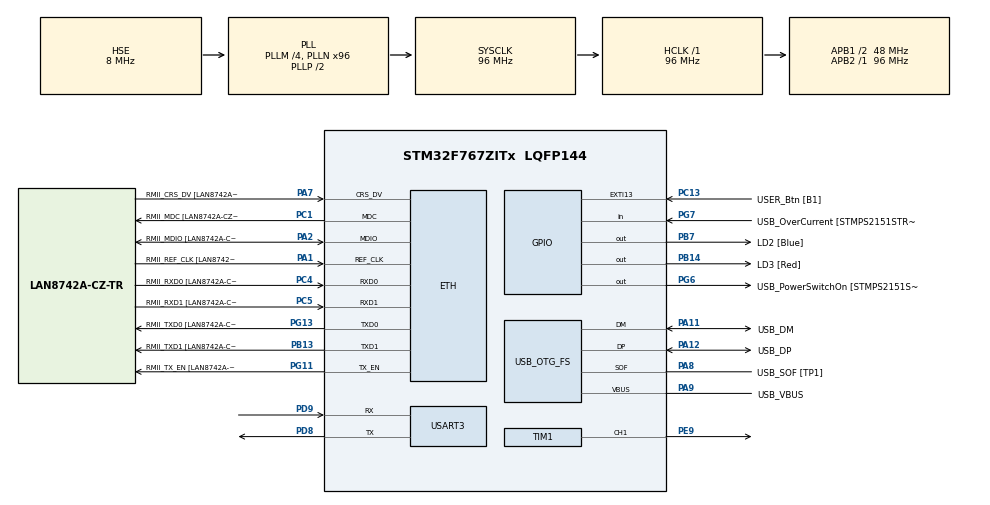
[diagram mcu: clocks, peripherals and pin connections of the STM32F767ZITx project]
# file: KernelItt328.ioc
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ETH.MediaInterface=ETH_MEDIA_INTERFACE_RMII
ETH.PHY_Name=LAN8742A_PHY_ADDRESS
ETH.PHY_Value=0
ETH.PhyAddress=0
Mcu.Family=STM32F7
Mcu.Name=STM32F767ZITx
Mcu.Package=LQFP144
NVIC.PriorityGroup=NVIC_PRIORITYGROUP_4
NVIC.USART3_IRQn=true\:0\:0\:false\:false\:true\:true\:true
PA1.GPIO_Label=RMII_REF_CLK [LAN8742A-CZ-TR_REFCLK0]
PA1.Mode=RMII
PA1.Signal=ETH_REF_CLK
PA10.GPIO_Label=USB_ID
PA10.Signal=USB_OTG_FS_ID
PA11.GPIO_Label=USB_DM
PA11.Mode=Device_Only
PA11.Signal=USB_OTG_FS_DM
PA12.GPIO_Label=USB_DP
PA12.Mode=Device_Only
PA12.Signal=USB_OTG_FS_DP
PA13.GPIO_Label=TMS
PA13.Mode=Serial_Wire
PA13.Signal=SYS_JTMS-SWDIO
PA14.GPIO_Label=TCK
PA14.Mode=Serial_Wire
PA14.Signal=SYS_JTCK-SWCLK
PA2.GPIO_Label=RMII_MDIO [LAN8742A-CZ-TR_MDIO]
PA2.Mode=RMII
PA2.Signal=ETH_MDIO
PA7.GPIO_Label=RMII_CRS_DV [LAN8742A-CZ-TR_CRS_DV]
PA7.Mode=RMII
PA7.Signal=ETH_CRS_DV
PA8.GPIO_Label=USB_SOF [TP1]
PA8.Mode=Activate_SOF_FS
PA8.Signal=USB_OTG_FS_SOF
PA9.GPIO_Label=USB_VBUS
PA9.Mode=Activate_VBUS
PA9.Signal=USB_OTG_FS_VBUS
PB13.GPIO_Label=RMII_TXD1 [LAN8742A-CZ-TR_TXD1]
PB13.Mode=RMII
PB13.Signal=ETH_TXD1
PB14.GPIO_Label=LD3 [Red]
PB14.Signal=GPIO_Output
PB3.GPIO_Label=SWO
PB3.Signal=SYS_JTDO-SWO
PB7.GPIO_Label=LD2 [Blue]
PB7.Signal=GPIO_Output
PC1.GPIO_Label=RMII_MDC [LAN8742A-CZ-TR_MDC]
PC1.Mode=RMII
PC1.Signal=ETH_MDC
PC13.GPIO_Label=USER_Btn [B1]
PC13.Signal=GPXTI13
PC14/OSC32_IN.Mode=LSE-External-Oscillator
PC14/OSC32_IN.Signal=RCC_OSC32_IN
PC15/OSC32_OUT.Mode=LSE-External-Oscillator
PC15/OSC32_OUT.Signal=RCC_OSC32_OUT
PC4.GPIO_Label=RMII_RXD0 [LAN8742A-CZ-TR_RXD0]
PC4.Mode=RMII
PC4.Signal=ETH_RXD0
PC5.GPIO_Label=RMII_RXD1 [LAN8742A-CZ-TR_RXD1]
PC5.Mode=RMII
PC5.Signal=ETH_RXD1
PD8.Mode=Asynchronous
PD8.Signal=USART3_TX
PD9.Mode=Asynchronous
PD9.Signal=USART3_RX
PE9.Signal=S_TIM1_CH1
PG11.GPIO_Label=RMII_TX_EN [LAN8742A-CZ-TR_TXEN]
PG11.Mode=RMII
PG11.Signal=ETH_TX_EN
PG13.GPIO_Label=RMII_TXD0 [LAN8742A-CZ-TR_TXD0]
PG13.Mode=RMII
PG13.Signal=ETH_TXD0
PG6.GPIO_Label=USB_PowerSwitchOn [STMPS2151STR_EN]
PG6.Signal=GPIO_Output
PG7.GPIO_Label=USB_OverCurrent [STMPS2151STR_FAULT]
PG7.Signal=GPIO_Input
PH0/OSC_IN.GPIO_Label=MCO [STM32F103CBT6_PA8]
PH0/OSC_IN.Mode=HSE-External-Clock-Source
PH0/OSC_IN.Signal=RCC_OSC_IN
PH1/OSC_OUT.Mode=HSE-External-Clock-Source
PH1/OSC_OUT.Signal=RCC_OSC_OUT
ProjectManager.HeapSize=0x200
ProjectManager.StackSize=0x400
ProjectManager.TargetToolchain=STM32CubeIDE
RCC.48MHZClocksFreq_Value=24000000
RCC.AHBFreq_Value=96000000
RCC.APB1CLKDivider=RCC_HCLK_DIV2
RCC.APB1Freq_Value=48000000
RCC.APB1TimFreq_Value=96000000
RCC.APB2Freq_Value=96000000
RCC.APB2TimFreq_Value=96000000
RCC.CortexFreq_Value=96000000
RCC.HCLKFreq_Value=96000000
RCC.HSE_VALUE=8000000
RCC.HSI_VALUE=16000000
RCC.PLLM=4
RCC.PLLMUL=RCC_PLL_MUL9
RCC.PLLN=96
RCC.PLLQ=4
RCC.PRESCALERUSB=RCC_USBCLKSOURCE_PLL_DIV1_5
RCC.SYSCLKFreq_VALUE=96000000
RCC.SYSCLKSource=RCC_SYSCLKSOURCE_PLLCLK
RCC.SYSCLKSourceVirtual=RCC_SYSCLKSOURCE_PLLCLK
RCC.USBFreq_Value=48000000
RCC.VCOOutputFreq_Value=192000000
SH.S_TIM1_CH1.0=TIM1_CH1,PWM Generation1 CH1
TIM1.Channel-PWM\ Generation1\ CH1=TIM_CHANNEL_1
TIM1.Period=1000
TIM1.Prescaler=96000
USART3.VirtualMode-Asynchronous=VM_ASYNC
USB_OTG_FS.VirtualMode=Device_Only
VP_TIM1_VS_ClockSourceINT.Mode=Internal
board=NUCLEO-F767ZI

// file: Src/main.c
/* USER CODE BEGIN Header */
/**
  ******************************************************************************
  * @file           : main.c
  * @brief          : Main program body
  ******************************************************************************
  * @attention
  *
  * <h2><center>&copy; Copyright (c) 2019 STMicroelectronics.
  * All rights reserved.</center></h2>
  *
  * This software component is licensed by ST under BSD 3-Clause license,
  * the "License"; You may not use this file except in compliance with the
  * License. You may obtain a copy of the License at:
  *                        opensource.org/licenses/BSD-3-Clause
  *
  ******************************************************************************
  */
/* USER CODE END Header */

#include "main.h"
#include "eth.h"
#include "tim.h"
#include "usart.h"
#include "usb_otg.h"
#include "gpio.h"
#include "pcb.h"

/* USER CODE BEGIN Includes */
void InitConsola();
int Leer(int a,char* b,int t);
int Escribir(int a,char* b,int t);
/* USER CODE END Includes */

void SystemClock_Config(void);

/* USER CODE BEGIN 0 */
sem_t mutex;
/* USER CODE END 0 */

int main(void)
{

  /* MCU Configuration--------------------------------------------------------*/

  /* Reset of all peripherals, Initializes the Flash interface and the Systick. */
  HAL_Init();

  /* Configure the system clock */
  SystemClock_Config();

  /* Initialize all configured peripherals */
  MX_GPIO_Init();
  MX_ETH_Init();
  MX_USB_OTG_FS_PCD_Init();
  MX_USART3_UART_Init();
  MX_TIM1_Init();
  SysTick_Config(SystemCoreClock * 0.1);
  InitConsola();

  /* Infinite loop */
  /* USER CODE BEGIN WHILE */
  int child;
  sem_init(&mutex, 1);
   while (1) {
     /* USER CODE END WHILE */

     /* USER CODE BEGIN 3 */
 	child = fork();
 	if (child == 0) {
 		for (;;) {
 			LD2_GPIO_Port->BSRR = LD2_Pin;
 			LD3_GPIO_Port->BSRR = (uint32_t)LD3_Pin << 16;
 			sem_wait(&mutex);
 			Escribir(1, "Proceso 2\n\r", 11);
 			sem_post(&mutex);
 		}
 	} else {
 		for (;;) {
 			LD2_GPIO_Port->BSRR = (uint32_t)LD2_Pin << 16;
 			LD3_GPIO_Port->BSRR = LD3_Pin;
 			sem_wait(&mutex);
 			Escribir(1, "Proceso 1\n\r", 11);
 			sem_post(&mutex);
 		}
 	}
   }
  /* USER CODE END 3 */
}

void SystemClock_Config(void)
{
  RCC_OscInitTypeDef RCC_OscInitStruct = {0};
  RCC_ClkInitTypeDef RCC_ClkInitStruct = {0};
  RCC_PeriphCLKInitTypeDef PeriphClkInitStruct = {0};

  /** Configure LSE Drive Capability
  */
  HAL_PWR_EnableBkUpAccess();
  /** Configure the main internal regulator output voltage
  */
  __HAL_RCC_PWR_CLK_ENABLE();
  __HAL_PWR_VOLTAGESCALING_CONFIG(PWR_REGULATOR_VOLTAGE_SCALE3);
  /** Initializes the CPU, AHB and APB busses clocks
  */
  RCC_OscInitStruct.OscillatorType = RCC_OSCILLATORTYPE_HSE;
  RCC_OscInitStruct.HSEState = RCC_HSE_BYPASS;
  RCC_OscInitStruct.PLL.PLLState = RCC_PLL_ON;
  RCC_OscInitStruct.PLL.PLLSource = RCC_PLLSOURCE_HSE;
  RCC_OscInitStruct.PLL.PLLM = 4;
  RCC_OscInitStruct.PLL.PLLN = 96;
  RCC_OscInitStruct.PLL.PLLP = RCC_PLLP_DIV2;
  RCC_OscInitStruct.PLL.PLLQ = 4;
  if (HAL_RCC_OscConfig(&RCC_OscInitStruct) != HAL_OK)
  {
    Error_Handler();
  }
  /** Activate the Over-Drive mode
  */
  if (HAL_PWREx_EnableOverDrive() != HAL_OK)
  {
    Error_Handler();
  }
  /** Initializes the CPU, AHB and APB busses clocks
  */
  RCC_ClkInitStruct.ClockType = RCC_CLOCKTYPE_HCLK|RCC_CLOCKTYPE_SYSCLK
                              |RCC_CLOCKTYPE_PCLK1|RCC_CLOCKTYPE_PCLK2;
  RCC_ClkInitStruct.SYSCLKSource = RCC_SYSCLKSOURCE_PLLCLK;
  RCC_ClkInitStruct.AHBCLKDivider = RCC_SYSCLK_DIV1;
  RCC_ClkInitStruct.APB1CLKDivider = RCC_HCLK_DIV2;
  RCC_ClkInitStruct.APB2CLKDivider = RCC_HCLK_DIV1;

  if (HAL_RCC_ClockConfig(&RCC_ClkInitStruct, FLASH_LATENCY_3) != HAL_OK)
  {
    Error_Handler();
  }
  PeriphClkInitStruct.PeriphClockSelection = RCC_PERIPHCLK_USART3|RCC_PERIPHCLK_CLK48;
  PeriphClkInitStruct.Usart3ClockSelection = RCC_USART3CLKSOURCE_PCLK1;
  PeriphClkInitStruct.Clk48ClockSelection = RCC_CLK48SOURCE_PLL;
  if (HAL_RCCEx_PeriphCLKConfig(&PeriphClkInitStruct) != HAL_OK)
  {
    Error_Handler();
  }
}

void Error_Handler(void)
{
}

/************************ (C) COPYRIGHT STMicroelectronics *****END OF FILE****/
